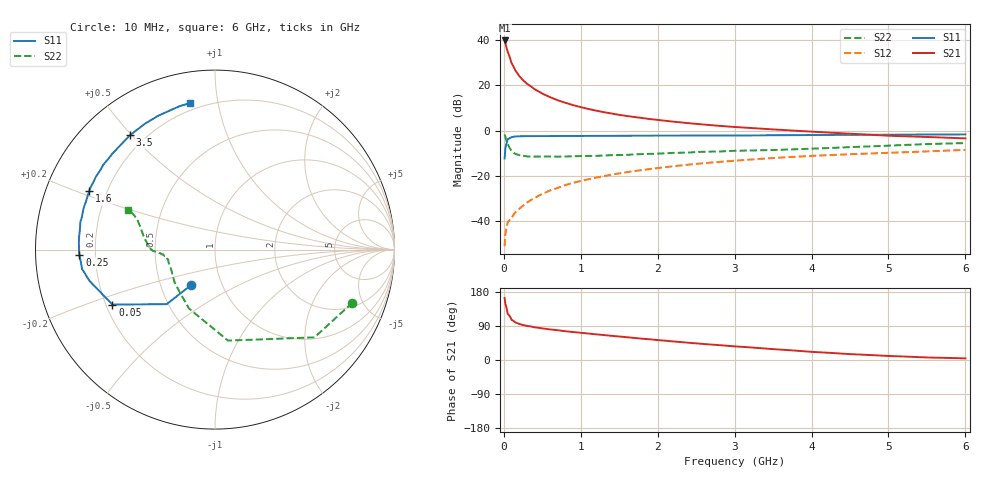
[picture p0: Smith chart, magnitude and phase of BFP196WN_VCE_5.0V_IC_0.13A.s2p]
! Infineon Technologies  Discrete & RF Semiconductors
! BFP196WN
! VCE =  5.0 V,  IC = 0.13 A
! Common Emitter S-Parameters:  Jan 2017
# GHz  S  MA  R  50
!  f  S11  S21  S12  S22
! GHz  MAG  ANG  MAG  ANG  MAG  ANG  MAG  ANG
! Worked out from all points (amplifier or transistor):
!   77 points, 10 MHz to 6 GHz, reference 50 ohm
!   highest |S21| = 39.9 dB at 10 MHz (marker M1)
!   |S21| within 3 dB of that: start of sweep to 34.05 MHz
!   unconditionally stable (mu >= 1): 364.1 MHz to 2.633 GHz
!   at 130 MHz: K = 0.77, MSG = 32.5 dB, |S12| = -37.0 dB
!   at 2.2 GHz: K = 1.02, MAG = 9.0 dB, |S12| = -15.7 dB
!   at 6 GHz: K = 0.92, MSG = 2.5 dB, |S12| = -8.5 dB
!   S11 on the Smith chart (normalised r, x): 10 MHz: 0.71, -0.30; 50 MHz: 0.23, -0.24; 250 MHz: 0.14, -0.02; 1.6 GHz: 0.13, +0.22; 3.5 GHz: 0.14, +0.49; 6 GHz: 0.16, +0.83
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0.01  0.242 -124.3  98.81 163.4  0.0028 72.0  0.8208 -21.1
0.02  0.4058 -131.5  85.87 147.9  0.0052 68.6  0.7394 -41.4
0.05  0.6481 -151.8  55.57 121.7  0.0094 52.6  0.5119 -81.9
0.1  0.7208 -166.0  31.21 106.0  0.0117 56.2  0.3588 -113.8
0.15  0.7483 -171.7  21.49 99.2  0.0158 59.6  0.3054 -131.0
0.2  0.7512 -175.2  16.24 95.2  0.0187 64.4  0.2892 -141.3
0.25  0.7565 -177.7  13.07 92.2  0.022 66.1  0.2782 -147.4
0.3  0.7577 -179.7  10.94 90.1  0.0257 68.6  0.2705 -152.8
0.4  0.7593 177.1  8.249 86.3  0.0326 71.7  0.2672 -158.4
0.5  0.7606 174.6  6.603 83.4  0.0401 72.5  0.2678 -162.4
0.6  0.7604 172.3  5.515 80.8  0.0477 72.4  0.2686 -165.4
0.7  0.7624 170.4  4.724 78.5  0.0544 73.5  0.2666 -167.4
0.9  0.7638 166.3  3.676 73.8  0.0704 73.0  0.2725 -169.7
1.1  0.7669 163.1  3.021 69.8  0.0847 72.4  0.2763 -171.9
1.3  0.7669 159.7  2.567 65.9  0.099 71.2  0.2829 -172.6
1.6  0.7731 155.1  2.112 60.1  0.121 69.3  0.2923 -174.6
2.1  0.7772 147.2  1.655 50.9  0.1563 65.3  0.3172 -176.9
3.1  0.7846 132.3  1.179 34.7  0.2231 56.4  0.362 178.6
3.5  0.7941 126.6  1.068 28.7  0.2489 53.0  0.3741 175.9
4.1  0.8032 118.1  0.933 20.4  0.2821 47.4  0.4058 169.0
5.1  0.8158 107.3  0.764 9.9  0.3289 39.4  0.4746 158.0
6  0.829 99.5  0.676 4.3  0.3766 33.2  0.533 155.3
